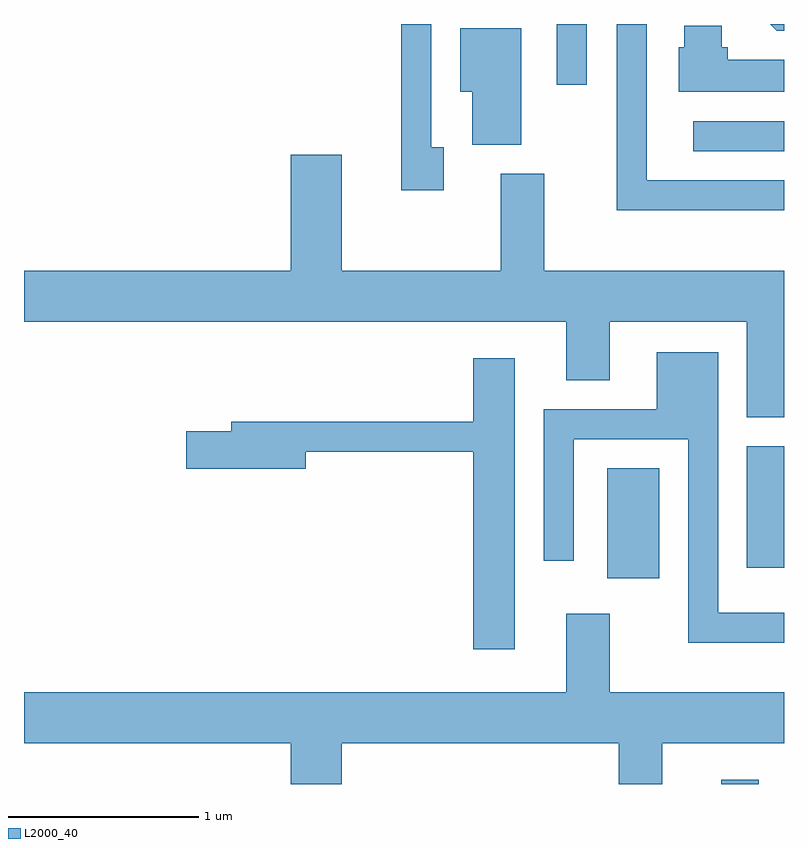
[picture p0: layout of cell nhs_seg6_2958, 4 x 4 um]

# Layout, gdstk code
import gdstk
lib = gdstk.Library(unit=1e-6, precision=1e-09)
def R(c, l, rs):  # rectangles x0, y0, x1, y1
    for r in rs: c.add(gdstk.rectangle(r[:2], r[2:], *l))
def P(c, l, *ps):  # polygons
    for p in ps: c.add(gdstk.Polygon(p, *l))
L2000_40 = (2000, 40)

nhs_seg6_2958 = lib.new_cell('nhs_seg6_2958')
R(nhs_seg6_2958, L2000_40, [(277.281,1654.162,277.479,1654.184), (276.681,1655.246,276.954,1655.824), (277.416,1655.301,277.611,1655.939), (277.133,1657.491,277.611,1657.649), (276.416,1657.843,276.574,1658.162)])
P(nhs_seg6_2958, L2000_40, [(277.611,1657.339),(276.889,1657.339),(276.889,1658.162),(276.731,1658.162),(276.731,1657.181),(277.611,1657.181)],
  [(277.611,1658.162),(277.538,1658.162),(277.574,1658.126),(277.611,1658.126)],
  [(275.819,1657.514),(275.754,1657.514),(275.754,1658.162),(275.596,1658.162),(275.596,1657.286),(275.819,1657.286)],
  [(277.611,1657.974),(277.314,1657.974),(277.314,1658.039),(277.284,1658.039),(277.284,1658.154),(277.086,1658.154),(277.086,1658.039),(277.056,1658.039),(277.056,1657.806),(277.611,1657.806)],
  [(276.229,1658.139),(275.906,1658.139),(275.906,1657.806),(275.971,1657.806),(275.971,1657.526),(276.229,1657.526)],
  [(277.611,1656.864),(276.349,1656.864),(276.349,1657.374),(276.121,1657.374),(276.121,1656.864),(275.284,1656.864),(275.284,1657.474),(275.016,1657.474),(275.016,1656.864),(273.611,1656.864),(273.611,1656.596),(276.466,1656.596),(276.466,1656.286),(276.694,1656.286),(276.694,1656.596),(277.416,1656.596),(277.416,1656.091),(277.611,1656.091)],
  [(277.611,1655.064),(277.264,1655.064),(277.264,1656.434),(276.941,1656.434),(276.941,1656.134),(276.346,1656.134),(276.346,1655.338),(276.504,1655.338),(276.504,1655.976),(277.106,1655.976),(277.106,1654.906),(277.611,1654.906)],
  [(276.194,1656.404),(275.976,1656.404),(275.976,1656.069),(274.701,1656.069),(274.701,1656.019),(274.466,1656.019),(274.466,1655.821),(275.094,1655.821),(275.094,1655.911),(275.976,1655.911),(275.976,1654.871),(276.194,1654.871)],
  [(275.284,1654.376),(276.741,1654.376),(276.741,1654.162),(276.969,1654.162),(276.969,1654.376),(277.611,1654.376),(277.611,1654.644),(276.694,1654.644),(276.694,1655.059),(276.466,1655.059),(276.466,1654.644),(273.611,1654.644),(273.611,1654.376),(275.016,1654.376),(275.016,1654.162),(275.284,1654.162)])

lib.write_gds('nhs_seg6_2958.gds')
